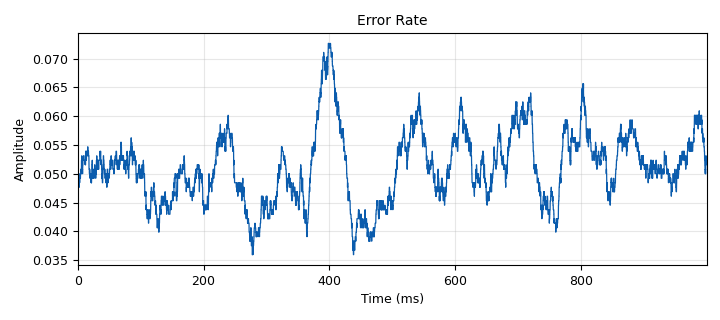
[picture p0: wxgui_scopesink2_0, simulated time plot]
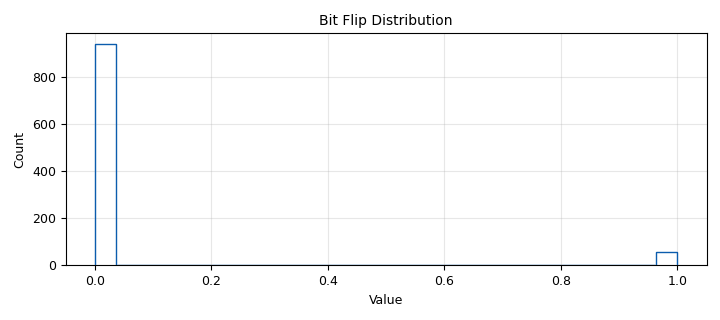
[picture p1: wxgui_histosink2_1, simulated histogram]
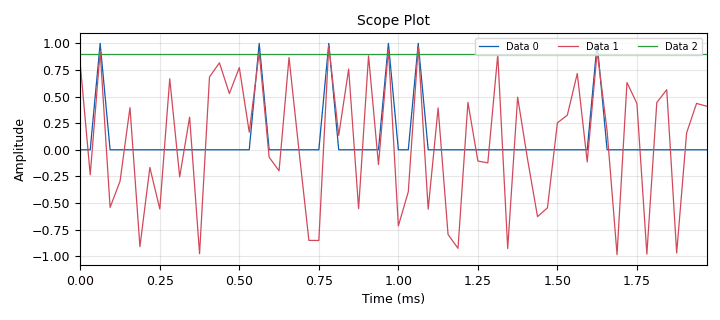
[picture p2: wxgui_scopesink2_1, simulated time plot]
<?xml version='1.0' encoding='utf-8'?>
<flow_graph>
<block>
<key>options</key>
<param><key>id</key><value>top_block</value></param>
<param><key>generate_options</key><value>wx_gui</value></param>
<param><key>category</key><value>Custom</value></param>
</block>
<block>
<key>gr_glfsr_source_x</key>
<param><key>id</key><value>gr_glfsr_source_x_0</value></param>
<param><key>type</key><value>byte</value></param>
<param><key>degree</key><value>6</value></param>
<param><key>repeat</key><value>True</value></param>
<param><key>mask</key><value>0</value></param>
<param><key>seed</key><value>1</value></param>
</block>
<block>
<key>gr_throttle</key>
<param><key>id</key><value>gr_throttle_0</value></param>
<param><key>type</key><value>byte</value></param>
<param><key>samples_per_second</key><value>samp_rate</value></param>
<param><key>vlen</key><value>1</value></param>
</block>
<block>
<key>gr_xor_xx</key>
<param><key>id</key><value>gr_xor_xx_0</value></param>
<param><key>type</key><value>byte</value></param>
<param><key>num_inputs</key><value>2</value></param>
</block>
<block>
<key>variable</key>
<param><key>id</key><value>samp_rate</value></param>
<param><key>value</key><value>32000</value></param>
</block>
<block>
<key>blks2_selector</key>
<param><key>id</key><value>blks2_selector_0</value></param>
<param><key>_enabled</key><value>False</value></param>
<param><key>type</key><value>byte</value></param>
<param><key>num_inputs</key><value>2</value></param>
<param><key>num_outputs</key><value>1</value></param>
<param><key>input_index</key><value>idx</value></param>
<param><key>output_index</key><value>0</value></param>
<param><key>vlen</key><value>1</value></param>
</block>
<block>
<key>gr_not_xx</key>
<param><key>id</key><value>gr_not_xx_0</value></param>
<param><key>_enabled</key><value>False</value></param>
<param><key>type</key><value>byte</value></param>
</block>
<block>
<key>variable_chooser</key>
<param><key>id</key><value>idx</value></param>
<param><key>_enabled</key><value>False</value></param>
<param><key>label</key><value></value></param>
<param><key>value</key><value>0</value></param>
<param><key>choices</key><value>[0,1]</value></param>
<param><key>labels</key><value>[]</value></param>
<param><key>type</key><value>radio_buttons</value></param>
<param><key>style</key><value>wx.RA_HORIZONTAL</value></param>
</block>
<block>
<key>blks2_error_rate</key>
<param><key>id</key><value>blks2_error_rate_0</value></param>
<param><key>type</key><value>'BER'</value></param>
<param><key>win_size</key><value>1280</value></param>
<param><key>bits_per_symbol</key><value>1</value></param>
</block>
<block>
<key>gr_short_to_float</key>
<param><key>id</key><value>gr_short_to_float_0</value></param>
<param><key>_enabled</key><value>False</value></param>
</block>
<block>
<key>gr_float_to_short</key>
<param><key>id</key><value>gr_float_to_short_0</value></param>
<param><key>_enabled</key><value>False</value></param>
</block>
<block>
<key>blks2_variable_sink_x</key>
<param><key>id</key><value>blks2_variable_sink_x_0</value></param>
<param><key>_enabled</key><value>False</value></param>
<param><key>type</key><value>short</value></param>
<param><key>variable</key><value>idx</value></param>
<param><key>decim</key><value>5000</value></param>
<param><key>vlen</key><value>1</value></param>
</block>
<block>
<key>gr_float_to_char</key>
<param><key>id</key><value>gr_float_to_char_0</value></param>
</block>
<block>
<key>gr_noise_source_x</key>
<param><key>id</key><value>gr_noise_source_x_0</value></param>
<param><key>type</key><value>float</value></param>
<param><key>noise_type</key><value>gr.GR_UNIFORM</value></param>
<param><key>amp</key><value>1</value></param>
<param><key>seed</key><value>42</value></param>
</block>
<block>
<key>gr_threshold_ff</key>
<param><key>id</key><value>gr_threshold_ff_0</value></param>
<param><key>low</key><value>thresh</value></param>
<param><key>high</key><value>thresh</value></param>
<param><key>init</key><value>0</value></param>
</block>
<block>
<key>variable_slider</key>
<param><key>id</key><value>thresh</value></param>
<param><key>label</key><value>Thresh</value></param>
<param><key>value</key><value>.9</value></param>
<param><key>min</key><value>0</value></param>
<param><key>max</key><value>1</value></param>
<param><key>num_steps</key><value>100</value></param>
<param><key>style</key><value>wx.SL_HORIZONTAL</value></param>
<param><key>converver</key><value>float_converter</value></param>
</block>
<block>
<key>variable</key>
<param><key>id</key><value>idx</value></param>
<param><key>_enabled</key><value>False</value></param>
<param><key>value</key><value>0</value></param>
</block>
<block>
<key>wxgui_numbersink2</key>
<param><key>id</key><value>wxgui_numbersink2_0</value></param>
<param><key>type</key><value>float</value></param>
<param><key>title</key><value>Error Rate</value></param>
<param><key>units</key><value></value></param>
<param><key>samp_rate</key><value>samp_rate</value></param>
<param><key>min_value</key><value>0</value></param>
<param><key>max_value</key><value>1</value></param>
<param><key>factor</key><value>1.0</value></param>
<param><key>decimal_places</key><value>6</value></param>
<param><key>ref_level</key><value>0</value></param>
<param><key>number_rate</key><value>15</value></param>
<param><key>peak_hold</key><value>False</value></param>
<param><key>average</key><value>False</value></param>
<param><key>avg_alpha</key><value>0</value></param>
<param><key>show_gauge</key><value>True</value></param>
</block>
<block>
<key>blks2_selector</key>
<param><key>id</key><value>blks2_selector_1</value></param>
<param><key>_enabled</key><value>False</value></param>
<param><key>type</key><value>float</value></param>
<param><key>num_inputs</key><value>2</value></param>
<param><key>num_outputs</key><value>1</value></param>
<param><key>input_index</key><value>idx</value></param>
<param><key>output_index</key><value>0</value></param>
<param><key>vlen</key><value>1</value></param>
</block>
<block>
<key>wxgui_scopesink2</key>
<param><key>id</key><value>wxgui_scopesink2_2</value></param>
<param><key>_enabled</key><value>False</value></param>
<param><key>type</key><value>float</value></param>
<param><key>title</key><value>Scope Plot</value></param>
<param><key>samp_rate</key><value>samp_rate</value></param>
<param><key>v_scale</key><value>0</value></param>
<param><key>v_offset</key><value>0</value></param>
<param><key>t_scale</key><value>0</value></param>
<param><key>ac_couple</key><value>False</value></param>
<param><key>xy_mode</key><value>False</value></param>
<param><key>num_inputs</key><value>1</value></param>
</block>
<block>
<key>gr_throttle</key>
<param><key>id</key><value>gr_throttle_2</value></param>
<param><key>_enabled</key><value>False</value></param>
<param><key>type</key><value>float</value></param>
<param><key>samples_per_second</key><value>samp_rate</value></param>
<param><key>vlen</key><value>1</value></param>
</block>
<block>
<key>const_source_x</key>
<param><key>id</key><value>const_source_x_1</value></param>
<param><key>_enabled</key><value>False</value></param>
<param><key>type</key><value>float</value></param>
<param><key>const</key><value>1</value></param>
</block>
<block>
<key>const_source_x</key>
<param><key>id</key><value>const_source_x_0</value></param>
<param><key>_enabled</key><value>False</value></param>
<param><key>type</key><value>float</value></param>
<param><key>const</key><value>0</value></param>
</block>
<block>
<key>gr_throttle</key>
<param><key>id</key><value>gr_throttle_1</value></param>
<param><key>type</key><value>float</value></param>
<param><key>samples_per_second</key><value>samp_rate</value></param>
<param><key>vlen</key><value>1</value></param>
</block>
<block>
<key>notebook</key>
<param><key>id</key><value>nb</value></param>
<param><key>style</key><value>wx.NB_TOP</value></param>
<param><key>labels</key><value>['Flips', 'Histo', 'Error']</value></param>
</block>
<block>
<key>wxgui_scopesink2</key>
<param><key>id</key><value>wxgui_scopesink2_0</value></param>
<param><key>type</key><value>float</value></param>
<param><key>title</key><value>Error Rate</value></param>
<param><key>samp_rate</key><value>samp_rate</value></param>
<param><key>v_scale</key><value>0.2</value></param>
<param><key>v_offset</key><value>0</value></param>
<param><key>t_scale</key><value>.1</value></param>
<param><key>ac_couple</key><value>False</value></param>
<param><key>xy_mode</key><value>False</value></param>
<param><key>num_inputs</key><value>1</value></param>
<param><key>notebook</key><value>nb, 2</value></param>
</block>
<block>
<key>wxgui_histosink2</key>
<param><key>id</key><value>wxgui_histosink2_0</value></param>
<param><key>_enabled</key><value>False</value></param>
<param><key>title</key><value>Histogram Plot</value></param>
<param><key>num_bins</key><value>27</value></param>
<param><key>frame_size</key><value>1000</value></param>
</block>
<block>
<key>wxgui_histosink2</key>
<param><key>id</key><value>wxgui_histosink2_1</value></param>
<param><key>title</key><value>Bit Flip Distribution</value></param>
<param><key>num_bins</key><value>27</value></param>
<param><key>frame_size</key><value>50*20</value></param>
<param><key>win_size</key><value>(640,240)</value></param>
<param><key>notebook</key><value>nb, 1</value></param>
</block>
<block>
<key>wxgui_scopesink2</key>
<param><key>id</key><value>wxgui_scopesink2_1</value></param>
<param><key>type</key><value>float</value></param>
<param><key>title</key><value>Scope Plot</value></param>
<param><key>samp_rate</key><value>samp_rate</value></param>
<param><key>v_scale</key><value>0.5</value></param>
<param><key>v_offset</key><value>0</value></param>
<param><key>t_scale</key><value>0</value></param>
<param><key>ac_couple</key><value>False</value></param>
<param><key>xy_mode</key><value>False</value></param>
<param><key>num_inputs</key><value>3</value></param>
<param><key>notebook</key><value>nb, 0</value></param>
</block>
<block>
<key>gr_throttle</key>
<param><key>id</key><value>gr_throttle_1_0</value></param>
<param><key>type</key><value>float</value></param>
<param><key>samples_per_second</key><value>samp_rate</value></param>
<param><key>vlen</key><value>1</value></param>
</block>
<block>
<key>const_source_x</key>
<param><key>id</key><value>const_source_x_2</value></param>
<param><key>type</key><value>float</value></param>
<param><key>const</key><value>thresh</value></param>
</block>
<connection><source_block_id>gr_glfsr_source_x_0</source_block_id><sink_block_id>gr_throttle_0</sink_block_id><source_key>0</source_key><sink_key>0</sink_key></connection>
<connection><source_block_id>gr_throttle_0</source_block_id><sink_block_id>blks2_error_rate_0</sink_block_id><source_key>0</source_key><sink_key>0</sink_key></connection>
<connection><source_block_id>blks2_selector_0</source_block_id><sink_block_id>blks2_error_rate_0</sink_block_id><source_key>0</source_key><sink_key>1</sink_key></connection>
<connection><source_block_id>gr_throttle_0</source_block_id><sink_block_id>blks2_selector_0</sink_block_id><source_key>0</source_key><sink_key>0</sink_key></connection>
<connection><source_block_id>gr_throttle_0</source_block_id><sink_block_id>gr_not_xx_0</sink_block_id><source_key>0</source_key><sink_key>0</sink_key></connection>
<connection><source_block_id>gr_not_xx_0</source_block_id><sink_block_id>blks2_selector_0</sink_block_id><source_key>0</source_key><sink_key>1</sink_key></connection>
<connection><source_block_id>gr_short_to_float_0</source_block_id><sink_block_id>wxgui_histosink2_0</sink_block_id><source_key>0</source_key><sink_key>0</sink_key></connection>
<connection><source_block_id>gr_float_to_short_0</source_block_id><sink_block_id>gr_short_to_float_0</sink_block_id><source_key>0</source_key><sink_key>0</sink_key></connection>
<connection><source_block_id>gr_threshold_ff_0</source_block_id><sink_block_id>gr_float_to_short_0</sink_block_id><source_key>0</source_key><sink_key>0</sink_key></connection>
<connection><source_block_id>gr_noise_source_x_0</source_block_id><sink_block_id>gr_throttle_1</sink_block_id><source_key>0</source_key><sink_key>0</sink_key></connection>
<connection><source_block_id>gr_throttle_1</source_block_id><sink_block_id>gr_threshold_ff_0</sink_block_id><source_key>0</source_key><sink_key>0</sink_key></connection>
<connection><source_block_id>gr_threshold_ff_0</source_block_id><sink_block_id>wxgui_histosink2_1</sink_block_id><source_key>0</source_key><sink_key>0</sink_key></connection>
<connection><source_block_id>gr_float_to_short_0</source_block_id><sink_block_id>blks2_variable_sink_x_0</sink_block_id><source_key>0</source_key><sink_key>0</sink_key></connection>
<connection><source_block_id>gr_threshold_ff_0</source_block_id><sink_block_id>wxgui_scopesink2_1</sink_block_id><source_key>0</source_key><sink_key>0</sink_key></connection>
<connection><source_block_id>gr_throttle_0</source_block_id><sink_block_id>gr_xor_xx_0</sink_block_id><source_key>0</source_key><sink_key>0</sink_key></connection>
<connection><source_block_id>gr_xor_xx_0</source_block_id><sink_block_id>blks2_error_rate_0</sink_block_id><source_key>0</source_key><sink_key>1</sink_key></connection>
<connection><source_block_id>gr_threshold_ff_0</source_block_id><sink_block_id>gr_float_to_char_0</sink_block_id><source_key>0</source_key><sink_key>0</sink_key></connection>
<connection><source_block_id>gr_float_to_char_0</source_block_id><sink_block_id>gr_xor_xx_0</sink_block_id><source_key>0</source_key><sink_key>1</sink_key></connection>
<connection><source_block_id>const_source_x_0</source_block_id><sink_block_id>blks2_selector_1</sink_block_id><source_key>0</source_key><sink_key>0</sink_key></connection>
<connection><source_block_id>blks2_error_rate_0</source_block_id><sink_block_id>wxgui_scopesink2_0</sink_block_id><source_key>0</source_key><sink_key>0</sink_key></connection>
<connection><source_block_id>blks2_error_rate_0</source_block_id><sink_block_id>wxgui_numbersink2_0</sink_block_id><source_key>0</source_key><sink_key>0</sink_key></connection>
<connection><source_block_id>gr_throttle_2</source_block_id><sink_block_id>wxgui_scopesink2_2</sink_block_id><source_key>0</source_key><sink_key>0</sink_key></connection>
<connection><source_block_id>blks2_selector_1</source_block_id><sink_block_id>gr_throttle_2</sink_block_id><source_key>0</source_key><sink_key>0</sink_key></connection>
<connection><source_block_id>const_source_x_1</source_block_id><sink_block_id>blks2_selector_1</sink_block_id><source_key>0</source_key><sink_key>1</sink_key></connection>
<connection><source_block_id>const_source_x_2</source_block_id><sink_block_id>gr_throttle_1_0</sink_block_id><source_key>0</source_key><sink_key>0</sink_key></connection>
<connection><source_block_id>gr_throttle_1_0</source_block_id><sink_block_id>wxgui_scopesink2_1</sink_block_id><source_key>0</source_key><sink_key>2</sink_key></connection>
<connection><source_block_id>gr_throttle_1</source_block_id><sink_block_id>wxgui_scopesink2_1</sink_block_id><source_key>0</source_key><sink_key>1</sink_key></connection>
</flow_graph>
